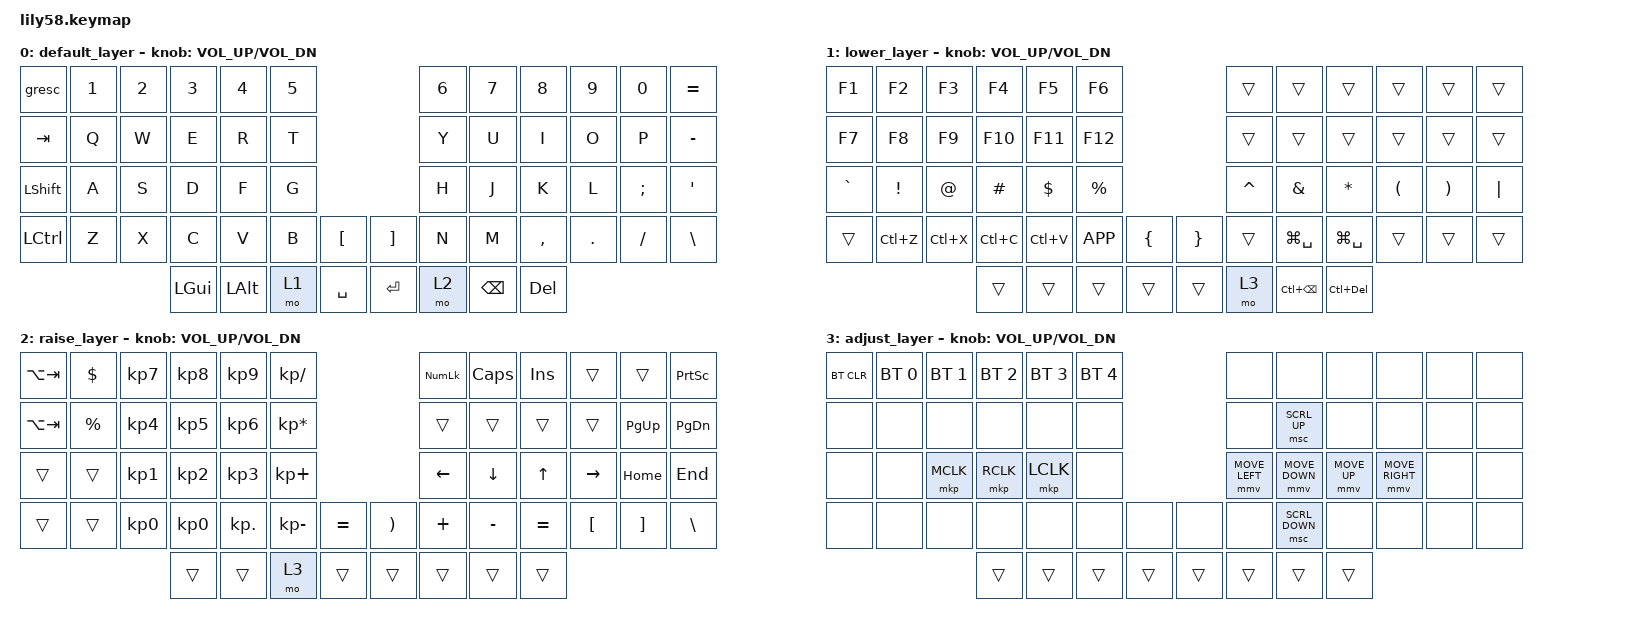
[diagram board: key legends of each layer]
/*
 * Copyright (c) 2020 The ZMK Contributors
 *
 * SPDX-License-Identifier: MIT
 */

#include <behaviors.dtsi>
#include <dt-bindings/zmk/keys.h>
#include <dt-bindings/zmk/bt.h>
#include <dt-bindings/zmk/mouse.h>

/ {
    keymap {
        compatible = "zmk,keymap";

        default_layer {
            // ------------------------------------------------------------------------------------------------------------
            // |  ESC  |  1  |  2  |  3   |  4   |  5   |                   |  6   |  7    |  8    |  9   |   0   |  =   |
            // |  TAB  |  Q  |  W  |  E   |  R   |  T   |                   |  Y   |  U    |  I    |  O   |   P   |  -   |
            // | SHIFT |  A  |  S  |  D   |  F   |  G   |                   |  H   |  J    |  K    |  L   |   ;   |  '   |
            // | CTRL  |  Z  |  X  |  C   |  V   |  B   |   [   |  |   ]   |  N   |  M    |  ,    |  .   |   /   |  \   |
            //                     | GUI  | ALT  | LOWR |  SPC  |  | ENT   | RAIS |  BSPC |  DEL  |
            bindings = <
&gresc     &kp N1    &kp N2    &kp N3    &kp N4    &kp N5                         &kp N6    &kp N7    &kp N8     &kp N9   &kp N0    &kp EQUAL
&kp TAB    &kp Q     &kp W     &kp E     &kp R     &kp T                          &kp Y     &kp U     &kp I      &kp O    &kp P     &kp MINUS
&kp LSHFT  &kp A     &kp S     &kp D     &kp F     &kp G                          &kp H     &kp J     &kp K      &kp L    &kp SEMI  &kp SQT
&kp LCTRL  &kp Z     &kp X     &kp C     &kp V     &kp B     &kp LBKT   &kp RBKT  &kp N     &kp M     &kp COMMA  &kp DOT  &kp FSLH  &kp BSLH
                               &kp LGUI  &kp LALT  &mo 1     &kp SPACE  &kp RET   &mo 2     &kp BSPC  &kp DEL
            >;

            sensor-bindings = <&inc_dec_kp C_VOL_UP C_VOL_DN>;
        };

        lower_layer {
            // ------------------------------------------------------------------------------------------------------------
            // |  F1   |  F2 |  F3 |  F4  |  F5  |  F6  |                   |      |       |       |      |       |      |
            // |  F7   |  F8 |  F9 | F10  | F11  | F12  |                   |      |       |       |      |       |      |
            // |   `   |  !  |  @  |  #   |  $   |  %   |                   |  ^   |  &    |  *    |  (   |   )   |  |   |
            // |       |C+Z  |C+X  | C+C  | C+V  | APP  |   {   |    }      |      |  US   |  PT   |      |       |      |
            //                     |      |      |      |       |           | L3   |C+BSPC |C+DEL  |
            bindings = <
&kp F1     &kp F2     &kp F3     &kp F4      &kp F5      &kp F6                           &trans        &trans        &trans        &trans     &trans     &trans
&kp F7     &kp F8     &kp F9     &kp F10     &kp F11     &kp F12                          &trans        &trans        &trans        &trans     &trans     &trans
&kp GRAVE  &kp EXCL   &kp AT     &kp HASH    &kp DLLR    &kp PRCNT                        &kp CARET     &kp AMPS      &kp ASTRK     &kp LPAR   &kp RPAR   &kp PIPE
&trans     &kp LC(Z)  &kp LC(X)  &kp LC(C)   &kp LC(V)   &kp K_APP   &kp LBRC   &kp RBRC  &trans        &kp LG(SPACE) &kp LG(SPACE) &trans     &trans     &trans
                                 &trans      &trans      &trans      &trans     &trans    &mo 3         &kp LC(BSPC)  &kp LC(DEL)
            >;

            sensor-bindings = <&inc_dec_kp C_VOL_UP C_VOL_DN>;
        };

        raise_layer {
            // ------------------------------------------------------------------------------------------------------------
            // |ALT_TAB| $   | KP7 | KP8  | KP9  | KP/  |                   | NUM  | CAPS  | INS   |      |       | PRSC |
            // |ALT_NRM| %   | KP4 | KP5  | KP6  | KP*  |                   |      |       |       |      | PGUP  | PGDN |
            // |       |     | KP1 | KP2  | KP3  | KP+  |                   | LEFT | DOWN  |  UP   | RGHT |  HOME | END  |
            // |       |     | KP0 | KP0  | KP.  | KP-  |   =   |    )      |  +   |  -    |  =    |  [   |   ]   |  \   |
            //                     |      |      | L3   |       |           |      |       |       |
            bindings = <
&kp LA(TAB) &kp DLLR  &kp KP_N7  &kp KP_N8   &kp KP_N9   &kp KP_SLASH                         &kp KP_NUM    &kp CAPS      &kp INS       &trans     &trans     &kp PSCRN
&kp LA(TAB) &kp PRCNT &kp KP_N4  &kp KP_N5   &kp KP_N6   &kp KP_MULTIPLY                      &trans        &trans        &trans        &trans     &kp PG_UP  &kp PG_DN
&trans      &trans    &kp KP_N1  &kp KP_N2   &kp KP_N3   &kp KP_PLUS                          &kp LEFT      &kp DOWN      &kp UP        &kp RIGHT  &kp HOME   &kp END
&trans      &trans    &kp KP_N0  &kp KP_N0   &kp KP_DOT  &kp KP_MINUS  &kp EQUAL   &kp RPAR   &kp PLUS      &kp MINUS     &kp EQUAL     &kp LBKT   &kp RBKT   &kp BSLH
                                 &trans      &trans      &mo 3         &trans      &trans     &trans        &trans        &trans
            >;

            sensor-bindings = <&inc_dec_kp C_VOL_UP C_VOL_DN>;
        };

        adjust_layer {
            // ------------------------------------------------------------------------------------------------------------
            // | BTCLR | BT1 | BT2 | BT3  | BT4  | BT5  |                   |      |       |       |      |       |      |
            // |       |     |     |      |      |      |                   |      | WHUP  |       |      |       |      |
            // |       |     |BTN3 | BTN2 | BTN1 |      |                   | MSLF | MSDN  | MSUP  | MSRT |       |      |
            // |       |     |     |      |      |      |       |           |      | WHDN  |       |      |       |      |
            //                     |      |      |      |       |           |      |       |       |
            bindings = <
&bt BT_CLR &bt BT_SEL 0 &bt BT_SEL 1 &bt BT_SEL 2 &bt BT_SEL 3 &bt BT_SEL 4                    &none         &none         &none         &none      &none      &none
&none      &none       &none        &none        &none        &none                            &none         &msc SCRL_UP  &none         &none      &none      &none
&none      &none       &mkp MCLK    &mkp RCLK    &mkp LCLK    &none                            &mmv MOVE_LEFT &mmv MOVE_DOWN &mmv MOVE_UP &mmv MOVE_RIGHT &none &none
&none      &none       &none        &none        &none        &none       &none      &none    &none         &msc SCRL_DOWN &none        &none      &none      &none
                                    &trans       &trans       &trans      &trans     &trans   &trans        &trans        &trans
            >;

            sensor-bindings = <&inc_dec_kp C_VOL_UP C_VOL_DN>;
        };
    };
};

/ {
    behaviors {
        gresc: grave_escape {
            compatible = "zmk,behavior-mod-morph";
            #binding-cells = <0>;
            bindings = <&kp ESC>, <&kp GRAVE>;
            mods = <(MOD_LGUI|MOD_LSFT|MOD_RGUI|MOD_RSFT)>;
        };
    };

    // Custom OLED display
    chosen {
        zmk,display = &oled;
    };
};

&oled {
    status = "okay";
};
